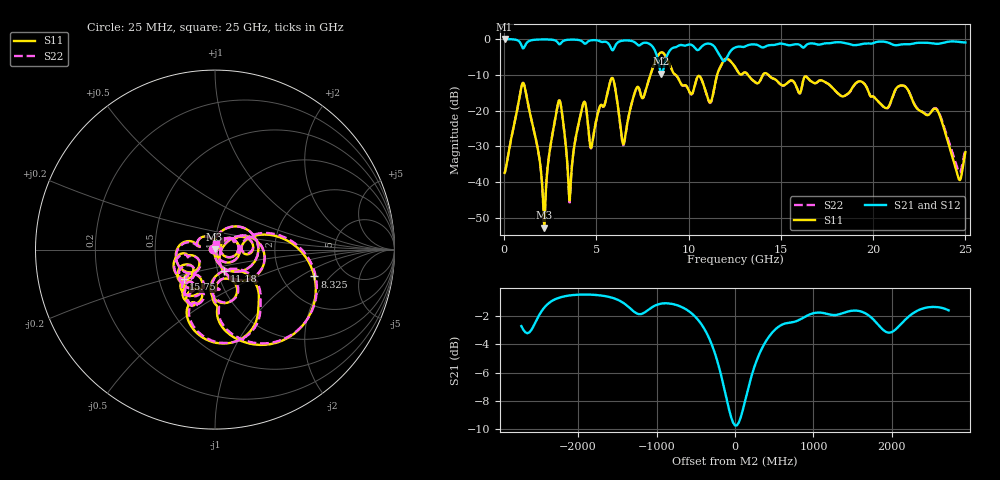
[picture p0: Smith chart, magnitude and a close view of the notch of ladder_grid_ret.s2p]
! RG_s4_pwr_n4_cap2: kisi's ladder with the plane pair as a finite cavity (grid) (Finite board 24 × 16 mm, via L1 → L4 through the GND/PWR pair L2/L3, four GND vias at 1 mm joined to L2 only (openings in the PWR plane L3), a capacitor between L2 and L3 2 mm away)
# Hz S RI R 50
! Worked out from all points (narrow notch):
!   1000 points, 25 MHz to 25 GHz, reference 50 ohm
!   highest |S21| = -0.12 dB at 25 MHz (marker M1); lowest = -9.7 dB at 8.525 GHz (marker M2)
!   notch at M2: 8.4 dB deep, 457 MHz wide at half that depth
!   lowest |S11| = -52.6 dB at 2.175 GHz (marker M3), VSWR 1.00, Z = 49.8 + j0.0756 ohm
!   |S11| at or under -10 dB: start of sweep to 7.932 GHz; 9.268 GHz to 11.55 GHz (2.281 GHz wide, 21.9 % of centre); 14.3 GHz to end of sweep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
!   |S22| runs from -52.1 to -3.8 dB; largest |S21 - S12| = 0
!   S11 on the Smith chart (normalised r, x): 25 MHz: 0.97, +0.00; 8.325 GHz: 3.03, -1.35; 11.18 GHz: 1.08, -0.26; 15.75 GHz: 0.67, -0.23; 25 GHz: 1.02, +0.05
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2.5e7  -0.0134 0.00174  0.9864 -0.00377  0.9864 -0.00377  -0.0134 0.00173
1.05e9  0.2375 -0.0325  0.7315 -0.0531  0.7315 -0.0531  0.2376 -0.0316
2.175e9  -0.00222 0.000759  0.9594 -0.1765  0.9594 -0.1765  -0.00235 0.000781
2.925e9  0.1211 0.0409  0.823 -0.2768  0.823 -0.2768  0.1205 0.0422
3.55e9  0.00558 9.39e-05  0.9256 -0.284  0.9256 -0.284  0.00524 0.000287
4.2e9  0.0787 0.0649  0.8359 -0.3997  0.8359 -0.3997  0.0773 0.0663
4.75e9  0.0302 0.012  0.8685 -0.3872  0.8685 -0.3872  0.0294 0.0128
5.875e9  0.2596 -0.1108  0.595 -0.3487  0.595 -0.3487  0.2613 -0.1051
6.475e9  0.0332 -0.00769  0.8039 -0.4906  0.8039 -0.4906  0.0325 -0.00636
8.325e9  0.5535 -0.1493  0.1915 -0.4821  0.1915 -0.4821  0.5572 -0.1325
8.35e9  0.5593 -0.1816  0.1836 -0.4516  0.1836 -0.4516  0.564 -0.1646
8.525e9  0.492 -0.4186  0.2356 -0.2253  0.2356 -0.2253  0.5037 -0.4035
9.075e9  0.0138 -0.3745  0.6729 -0.2716  0.6729 -0.2716  0.0242 -0.3733
1.1175e10  0.0512 -0.1192  0.5439 -0.648  0.5439 -0.648  0.0542 -0.1154
1.2525e10  -0.1563 -0.3687  0.6151 -0.4369  0.6151 -0.4369  -0.1427 -0.3734
1.575e10  -0.1747 -0.1644  0.458 -0.6955  0.458 -0.6955  -0.168 -0.1704
1.6675e10  -0.183 -0.1728  0.4351 -0.7409  0.4351 -0.7409  -0.1753 -0.1794
2.085e10  -0.0867 -0.075  0.0769 -0.8708  0.0769 -0.8708  -0.0822 -0.0769
2.17e10  -0.2176 -0.0201  0.0837 -0.8327  0.0837 -0.8327  -0.2165 -0.0317
2.35e10  -0.068 0.0711  -0.0393 -0.8455  -0.0393 -0.8455  -0.0739 0.0692
2.465e10  0.00548 0.00957  -0.1743 -0.8853  -0.1743 -0.8853  0.00468 0.0132
2.5e10  0.00813 0.0251  -0.1963 -0.8605  -0.1963 -0.8605  0.00596 0.0286
